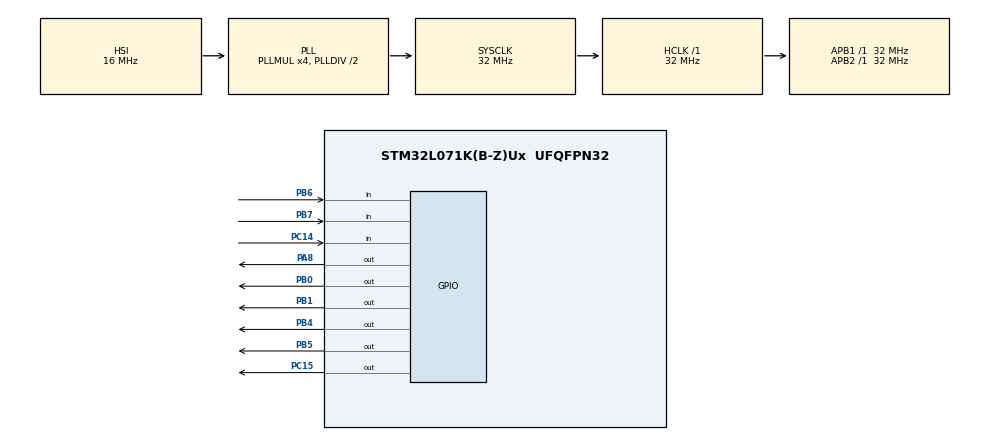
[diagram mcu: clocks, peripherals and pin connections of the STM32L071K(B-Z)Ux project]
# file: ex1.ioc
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Mcu.Family=STM32L0
Mcu.Name=STM32L071K(B-Z)Ux
Mcu.Package=UFQFPN32
NVIC.TIM6_IRQn=true\:0\:0\:false\:false\:true\:true\:true
NVIC.TIM7_IRQn=true\:0\:0\:false\:false\:true\:true\:true
PA13.Mode=Serial_Wire
PA13.Signal=SYS_SWDIO
PA14.Mode=Serial_Wire
PA14.Signal=SYS_SWCLK
PA8.GPIO_PuPd=GPIO_PULLDOWN
PA8.Signal=GPIO_Output
PB0.GPIO_PuPd=GPIO_PULLDOWN
PB0.Signal=GPIO_Output
PB1.GPIO_PuPd=GPIO_PULLDOWN
PB1.Signal=GPIO_Output
PB4.Signal=GPIO_Output
PB5.Signal=GPIO_Output
PB6.GPIO_PuPd=GPIO_PULLDOWN
PB6.Signal=GPIO_Input
PB7.GPIO_PuPd=GPIO_PULLDOWN
PB7.Signal=GPIO_Input
PC14-OSC32_IN.Signal=GPIO_Input
PC15-OSC32_OUT.Signal=GPIO_Output
ProjectManager.HeapSize=0x200
ProjectManager.StackSize=0x400
ProjectManager.TargetToolchain=MDK-ARM V5
RCC.AHBFreq_Value=32000000
RCC.APB1Freq_Value=32000000
RCC.APB1TimFreq_Value=32000000
RCC.APB2Freq_Value=32000000
RCC.APB2TimFreq_Value=32000000
RCC.HCLKFreq_Value=32000000
RCC.HSI16_VALUE=16000000
RCC.HSI_VALUE=16000000
RCC.LSE_VALUE=32768
RCC.MSI_VALUE=2097000
RCC.PLLMUL=RCC_PLLMUL_4
RCC.SYSCLKFreq_VALUE=32000000
RCC.SYSCLKSource=RCC_SYSCLKSOURCE_PLLCLK
RCC.VCOOutputFreq_Value=64000000
TIM6.AutoReloadPreload=TIM_AUTORELOAD_PRELOAD_ENABLE
TIM6.Period=999
TIM6.Prescaler=31
TIM7.Period=999
TIM7.Prescaler=31
VP_TIM6_VS_ClockSourceINT.Mode=Enable_Timer
VP_TIM7_VS_ClockSourceINT.Mode=Enable_Timer
board=custom

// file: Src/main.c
/* USER CODE BEGIN Header */
/**
  ******************************************************************************
  * @file           : main.c
  * @brief          : Main program body
  ******************************************************************************
  * @attention
  *
  * <h2><center>&copy; Copyright (c) 2019 STMicroelectronics.
  * All rights reserved.</center></h2>
  *
  * This software component is licensed by ST under BSD 3-Clause license,
  * the "License"; You may not use this file except in compliance with the
  * License. You may obtain a copy of the License at:
  *                        opensource.org/licenses/BSD-3-Clause
  *
  ******************************************************************************
  */
/* USER CODE END Header */

#include "main.h"
#include "tim.h"
#include "gpio.h"

/* USER CODE BEGIN Includes */
#include "key.h"
/* USER CODE END Includes */

/* USER CODE BEGIN PTD */
unsigned int time_i=0,time_10ms=1,time_100ms=1;
/* USER CODE END PTD */

void SystemClock_Config(void);

/* USER CODE BEGIN 0 */
void Task_BrdInit(void)
{
    HAL_GPIO_WritePin(GPIOC, GPIO_PIN_15, GPIO_PIN_SET);

    OLED_PowerControl(ENABLE);

    HAL_Delay(200);
    OLED_Init();
    OLED_Clear();

    OLED_ShowString(0, 0, (unsigned char *)"                ", 16);
    OLED_ShowString(0, 2, (unsigned char *)"                ", 16);
}
/* USER CODE END 0 */

int main(void)
{
  /* USER CODE BEGIN 1 */
    char lcdLine_1st_line[16];
    char lcdLine_2st_line[16];

  /* USER CODE END 1 */

  /* MCU Configuration--------------------------------------------------------*/

  /* Reset of all peripherals, Initializes the Flash interface and the Systick. */
  HAL_Init();

  /* Configure the system clock */
  SystemClock_Config();

  /* Initialize all configured peripherals */
  MX_GPIO_Init();
  MX_TIM6_Init();
  MX_TIM7_Init();
  /* USER CODE BEGIN 2 */
    Task_BrdInit();
		HAL_TIM_Base_Start_IT(&htim6);
		HAL_TIM_Base_Start_IT(&htim7);
  /* USER CODE END 2 */

  /* Infinite loop */
    while (1)
    {

    /* USER CODE BEGIN 3 */
			if(time_10ms==1)
			{
				key_scan();
				time_10ms=0;
			}

			Led_scan();

			sprintf(lcdLine_1st_line, "%d",KEY_flag);
			sprintf(lcdLine_2st_line, "Hello World    ");

			if(time_100ms==1)
			{
				OLED_ShowString(0, 0, (unsigned char *)lcdLine_1st_line, 16);
				OLED_ShowString(0, 2, (unsigned char *)lcdLine_2st_line, 16);
			}
    }
  /* USER CODE END 3 */
}
/* USER CODE BEGIN 4 */
void HAL_TIM_PeriodElapsedCallback(TIM_HandleTypeDef *htim)
{
	if(htim->Instance==TIM6)
	{
		time_i++;
		if(time_i==9999)	time_i=0;
		if(time_i%50==0)
		{
			time_10ms=!time_10ms;
//			key_scan();
		}
		if(time_i%100==0)
			time_100ms=!time_100ms;
	}
}
/* USER CODE END 4 */
void SystemClock_Config(void)
{
  RCC_OscInitTypeDef RCC_OscInitStruct = {0};
  RCC_ClkInitTypeDef RCC_ClkInitStruct = {0};

  /** Configure the main internal regulator output voltage
  */
  __HAL_PWR_VOLTAGESCALING_CONFIG(PWR_REGULATOR_VOLTAGE_SCALE1);
  /** Initializes the CPU, AHB and APB busses clocks
  */
  RCC_OscInitStruct.OscillatorType = RCC_OSCILLATORTYPE_HSI;
  RCC_OscInitStruct.HSIState = RCC_HSI_ON;
  RCC_OscInitStruct.HSICalibrationValue = RCC_HSICALIBRATION_DEFAULT;
  RCC_OscInitStruct.PLL.PLLState = RCC_PLL_ON;
  RCC_OscInitStruct.PLL.PLLSource = RCC_PLLSOURCE_HSI;
  RCC_OscInitStruct.PLL.PLLMUL = RCC_PLLMUL_4;
  RCC_OscInitStruct.PLL.PLLDIV = RCC_PLLDIV_2;
  if (HAL_RCC_OscConfig(&RCC_OscInitStruct) != HAL_OK)
  {
    Error_Handler();
  }
  /** Initializes the CPU, AHB and APB busses clocks
  */
  RCC_ClkInitStruct.ClockType = RCC_CLOCKTYPE_HCLK|RCC_CLOCKTYPE_SYSCLK
                              |RCC_CLOCKTYPE_PCLK1|RCC_CLOCKTYPE_PCLK2;
  RCC_ClkInitStruct.SYSCLKSource = RCC_SYSCLKSOURCE_PLLCLK;
  RCC_ClkInitStruct.AHBCLKDivider = RCC_SYSCLK_DIV1;
  RCC_ClkInitStruct.APB1CLKDivider = RCC_HCLK_DIV1;
  RCC_ClkInitStruct.APB2CLKDivider = RCC_HCLK_DIV1;

  if (HAL_RCC_ClockConfig(&RCC_ClkInitStruct, FLASH_LATENCY_1) != HAL_OK)
  {
    Error_Handler();
  }
}

void Error_Handler(void)
{
}

/************************ (C) COPYRIGHT STMicroelectronics *****END OF FILE****/
